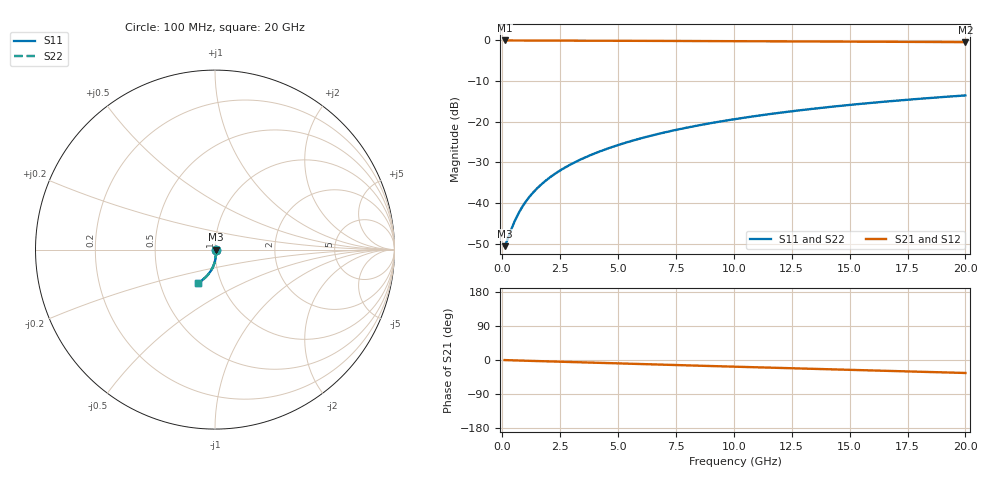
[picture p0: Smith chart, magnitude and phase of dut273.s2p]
! Touchstone file exported from HFSS 2026.1.0
!  File:  C:/ffzhzh/LocalFiles/Ansys_Project_Files/temp_train_TMRDL_273_1782985209_40604.aedt
!  Generated:  05:41:13 PM Jul  2, 2026
!  Design:  TMRDL
!  Project:  temp_train_TMRDL_273_1782985209_40604
! Variables:
!  h_bsmrdl = 2um
!  h_ox = 20um
!  h_rdl = 5um
!  h_sub = 80um
!  h_tmrdl = 4.44um
!  h_tsv = 80um
!  h_via = 3um
!  l_bsmrdl = 300um
!  l_sub = 967.76um
!  l_tmrdl = 567.76um
!  m_sub = 200um
!  pitch = 18.47um
!  r_tsv = 6um
!  s_tmrdl = 10um
!  w_bsmrdl = 18um
!  w_sub = 500um
!  w_tmrdl = 16.75um
!  x_tsv_center1 = 576.135um
!  x_tsv_center2 = 894.135um
!  x_tsv_center3 = 1478.645um
!  x_tsv_center4 = 1796.645um
!  x_tsv_center5 = 2381.155um
!  x_tsv_center6 = 2699.155um
# GHz S MA R 50.000000
! Terminal data exported
! Port[1] = TM_RDL1_1_T1
! Port[2] = TM_RDL1_1_T2
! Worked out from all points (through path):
!   200 points, 100 MHz to 20 GHz, reference 50 ohm
!   highest |S21| = -0.03 dB at 100 MHz (marker M1); lowest = -0.4 dB at 20 GHz (marker M2)
!   group delay of S21, straight-line fit = 4.73 ps
!   lowest |S11| = -50.6 dB at 100 MHz (marker M3), VSWR 1.01, Z = 50.3 - j0.0332 ohm
!   |S11| at or under -10 dB: start of sweep to end of sweep
!   |S22| runs from -50.6 to -13.5 dB; largest |S21 - S12| = 3.5e-15
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0.1  0.002954 -6.4  0.9971 -0.2  0.9971 -0.2  0.002954 -6.4
! Gamma 0 0 0 0
! Port Impedance 50 0 50 0
0.2  0.003419 -14.2  0.9967 -0.4  0.9967 -0.4  0.003419 -14.2
0.4  0.004844 -30.8  0.9958 -0.8  0.9958 -0.8  0.004844 -30.8
0.5  0.00568 -37.9  0.9955 -1.0  0.9955 -1.0  0.00568 -37.9
0.7  0.007464 -48.8  0.9949 -1.4  0.9949 -1.4  0.007463 -48.8
0.8  0.00839 -53.0  0.9947 -1.5  0.9947 -1.5  0.008388 -53.0
1  0.01028 -59.4  0.9944 -1.9  0.9944 -1.9  0.01028 -59.4
1.3  0.01318 -66.0  0.9941 -2.4  0.9941 -2.4  0.01318 -66.0
1.7  0.01712 -71.7  0.9936 -3.1  0.9936 -3.1  0.01711 -71.7
2.2  0.02213 -76.2  0.993 -4.0  0.993 -4.0  0.02213 -76.2
2.8  0.02826 -79.7  0.9921 -5.1  0.9921 -5.1  0.02826 -79.8
3.5  0.03556 -82.7  0.991 -6.4  0.991 -6.4  0.03555 -82.8
4.2  0.04301 -85.0  0.9897 -7.6  0.9897 -7.6  0.04299 -85.1
5  0.05166 -87.3  0.9882 -9.0  0.9882 -9.0  0.05164 -87.4
5.9  0.06154 -89.6  0.9863 -10.6  0.9863 -10.6  0.06151 -89.6
6.8  0.07152 -91.7  0.9844 -12.1  0.9844 -12.1  0.07149 -91.8
8.3  0.08823 -95.0  0.9811 -14.7  0.9811 -14.7  0.08819 -95.1
10.1  0.1082 -98.8  0.977 -17.8  0.977 -17.8  0.1082 -98.9
11.7  0.1258 -102.1  0.9732 -20.5  0.9732 -20.5  0.1257 -102.2
13.4  0.1441 -105.4  0.9689 -23.3  0.9689 -23.3  0.144 -105.5
16.7  0.1783 -111.5  0.9601 -28.8  0.9601 -28.8  0.1781 -111.7
20  0.2104 -117.4  0.9505 -34.2  0.9505 -34.2  0.2102 -117.6
